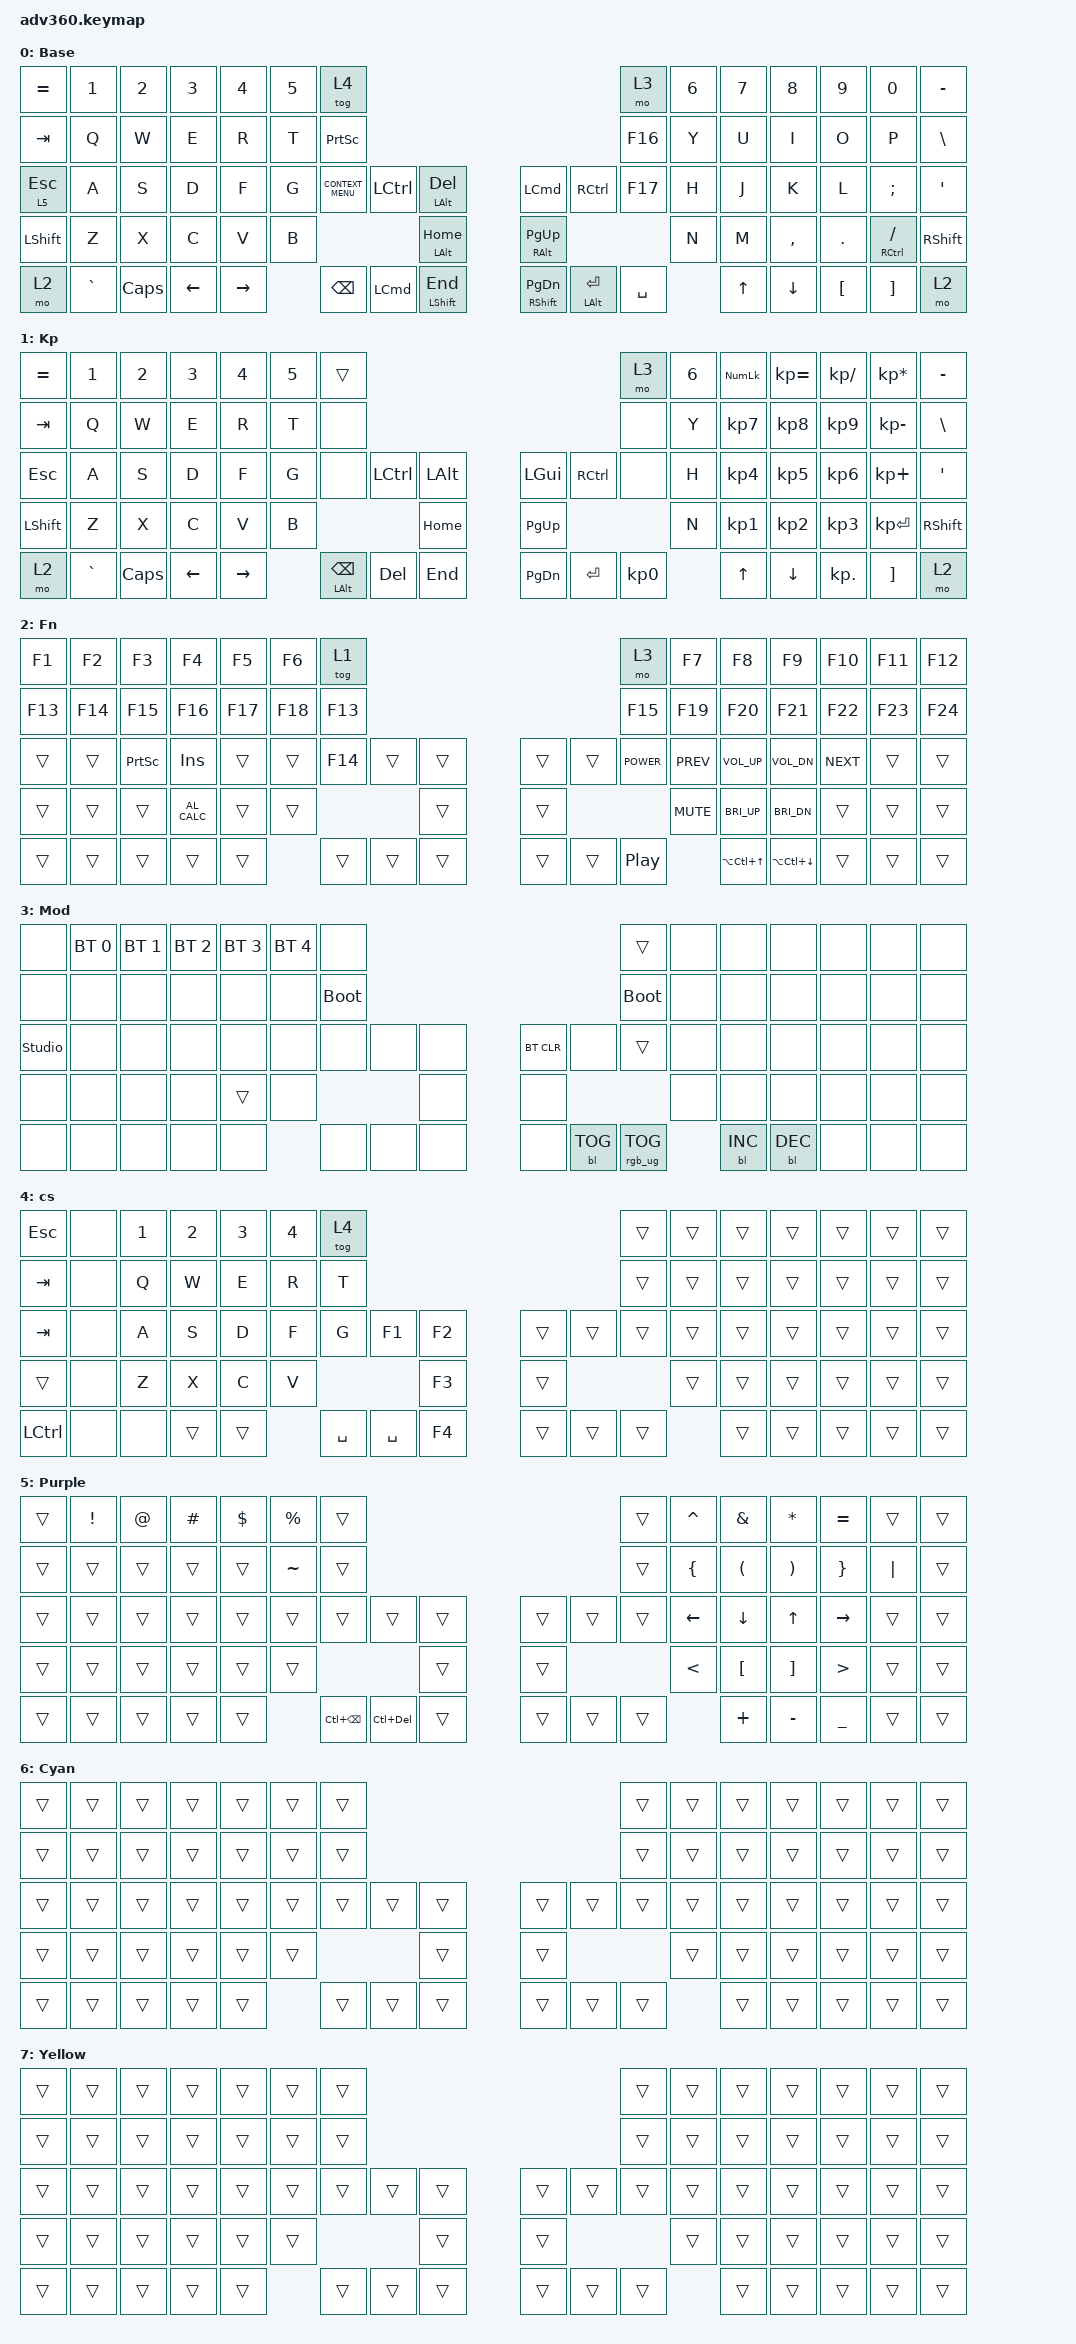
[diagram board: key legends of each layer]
#include <dt-bindings/zmk/stp.h>
#include <behaviors.dtsi>
#include <dt-bindings/zmk/backlight.h>
#include <dt-bindings/zmk/bt.h>
#include <dt-bindings/zmk/keys.h>
#include <dt-bindings/zmk/rgb.h>

/ {
    behaviors {
        #include "macros.dtsi"
      #include "version.dtsi"

        hm: homerow_mods {
            compatible = "zmk,behavior-hold-tap";
            label = "HOMEROW_MODS";
            #binding-cells = <2>;
            tapping-term-ms = <200>;
            flavor = "tap-preferred";
            bindings = <&kp>, <&kp>;

            require-prior-idle-ms = <0>;
        };
    };

    keymap {
        compatible = "zmk,keymap";

        default_layer {
            display-name = "Base";
            bindings = <
&kp EQUAL     &kp N1     &kp N2    &kp N3    &kp N4     &kp N5  &tog 4                                                                                       &mo 3      &kp N6  &kp N7  &kp N8     &kp N9    &kp N0          &kp MINUS
&kp TAB       &kp Q      &kp W     &kp E     &kp R      &kp T   &kp PRINTSCREEN                                                                              &kp F16    &kp Y   &kp U   &kp I      &kp O     &kp P           &kp BSLH
&lt 5 ESCAPE  &kp A      &kp S     &kp D     &kp F      &kp G   &kp K_CONTEXT_MENU  &kp LCTRL  &hm LALT DELETE        &kp LEFT_COMMAND       &kp RCTRL       &kp F17    &kp H   &kp J   &kp K      &kp L     &kp SEMI        &kp SQT
&kp LSHFT     &kp Z      &kp X     &kp C     &kp V      &kp B                                  &hm LEFT_ALT HOME      &hm RIGHT_ALT PAGE_UP                             &kp N   &kp M   &kp COMMA  &kp DOT   &hm RCTRL FSLH  &kp RSHFT
&mo 2         &kp GRAVE  &kp CAPS  &kp LEFT  &kp RIGHT          &kp BACKSPACE       &kp LCMD   &hm LSHFT END          &hm RSHIFT PAGE_DOWN   &hm LALT ENTER  &kp SPACE          &kp UP  &kp DOWN   &kp LBKT  &kp RBKT        &mo 2
            >;
        };

        keypad {
            display-name = "Kp";
            bindings = <
&kp EQUAL  &kp N1     &kp N2    &kp N3    &kp N4     &kp N5  &trans                                                                 &mo 3      &kp N6  &kp KP_NUM  &kp KP_EQUAL  &kp KP_DIVIDE  &kp KP_MULTIPLY  &kp MINUS
&kp TAB    &kp Q      &kp W     &kp E     &kp R      &kp T   &none                                                                  &none      &kp Y   &kp KP_N7   &kp KP_N8     &kp KP_N9      &kp KP_MINUS     &kp BSLH
&kp ESC    &kp A      &kp S     &kp D     &kp F      &kp G   &none                   &kp LCTRL  &kp LALT      &kp LGUI   &kp RCTRL  &none      &kp H   &kp KP_N4   &kp KP_N5     &kp KP_N6      &kp KP_PLUS      &kp SQT
&kp LSHFT  &kp Z      &kp X     &kp C     &kp V      &kp B                                      &kp HOME      &kp PG_UP                        &kp N   &kp KP_N1   &kp KP_N2     &kp KP_N3      &kp KP_ENTER     &kp RSHFT
&mo 2      &kp GRAVE  &kp CAPS  &kp LEFT  &kp RIGHT          &hm LEFT_ALT BACKSPACE  &kp DEL    &kp END       &kp PG_DN  &kp ENTER  &kp KP_N0          &kp UP      &kp DOWN      &kp KP_DOT     &kp RBKT         &mo 2
            >;
        };

        fn {
            display-name = "Fn";
            bindings = <
&kp F1   &kp F2   &kp F3     &kp F4         &kp F5   &kp F6   &tog 1                                       &mo 3        &kp F7      &kp F8          &kp F9            &kp F10     &kp F11  &kp F12
&kp F13  &kp F14  &kp F15    &kp F16        &kp F17  &kp F18  &kp F13                                      &kp F15      &kp F19     &kp F20         &kp F21           &kp F22     &kp F23  &kp F24
&trans   &trans   &kp PSCRN  &kp INSERT     &trans   &trans   &kp F14  &trans  &trans      &trans  &trans  &kp C_POWER  &kp C_PREV  &kp C_VOL_UP    &kp C_VOL_DN      &kp C_NEXT  &trans   &trans
&trans   &trans   &trans     &kp C_AL_CALC  &trans   &trans                    &trans      &trans                       &kp C_MUTE  &kp C_BRI_UP    &kp C_BRI_DN      &trans      &trans   &trans
&trans   &trans   &trans     &trans         &trans            &trans   &trans  &trans      &trans  &trans  &kp C_PP                 &kp LA(LC(UP))  &kp LA(LC(DOWN))  &trans      &trans   &trans
            >;
        };

        mod {
            display-name = "Mod";
            bindings = <
&none           &bt BT_SEL 0  &bt BT_SEL 1  &bt BT_SEL 2  &bt BT_SEL 3  &bt BT_SEL 4  &none                                                  &trans           &none  &none       &none       &none  &none  &none
&none           &none         &none         &none         &none         &none         &bootloader                                            &bootloader      &none  &none       &none       &none  &none  &none
&studio_unlock  &none         &none         &none         &none         &none         &none        &none  &none      &bt BT_CLR  &none       &trans           &none  &none       &none       &none  &none  &none
&none           &none         &none         &none         &trans        &none                             &none      &none                                    &none  &none       &none       &none  &none  &none
&none           &none         &none         &none         &none                       &none        &none  &none      &none       &bl BL_TOG  &rgb_ug RGB_TOG         &bl BL_INC  &bl BL_DEC  &none  &none  &none
            >;
        };

        Cs-layer {
            display-name = "cs";
            bindings = <
&kp ESCAPE  &none  &kp NUMBER_1  &kp NUMBER_2  &kp NUMBER_3  &kp NUMBER_4  &tog 4                                            &trans  &trans  &trans  &trans  &trans  &trans  &trans
&kp TAB     &none  &kp Q         &kp W         &kp E         &kp R         &kp T                                             &trans  &trans  &trans  &trans  &trans  &trans  &trans
&kp TAB     &none  &kp A         &kp S         &kp D         &kp F         &kp G      &kp F1     &kp F2      &trans  &trans  &trans  &trans  &trans  &trans  &trans  &trans  &trans
&trans      &none  &kp Z         &kp X         &kp C         &kp V                               &kp F3      &trans                  &trans  &trans  &trans  &trans  &trans  &trans
&kp LCTRL   &none  &none         &trans        &trans                      &kp SPACE  &kp SPACE  &kp F4      &trans  &trans  &trans          &trans  &trans  &trans  &trans  &trans
            >;
        };

        symbol+nav-layer {
            display-name = "Purple";
            bindings = <
&trans  &kp EXCL  &kp AT  &kp POUND  &kp DOLLAR  &kp PERCENT  &trans                                                      &trans  &kp CARET       &kp AMPERSAND         &kp ASTERISK           &kp EQUAL         &trans    &trans
&trans  &trans    &trans  &trans     &trans      &kp TILDE    &trans                                                      &trans  &kp LEFT_BRACE  &kp LEFT_PARENTHESIS  &kp RIGHT_PARENTHESIS  &kp RIGHT_BRACE   &kp PIPE  &trans
&trans  &trans    &trans  &trans     &trans      &trans       &trans             &trans       &trans      &trans  &trans  &trans  &kp LEFT        &kp DOWN              &kp UP                 &kp RIGHT         &trans    &trans
&trans  &trans    &trans  &trans     &trans      &trans                                       &trans      &trans                  &kp LESS_THAN   &kp LEFT_BRACKET      &kp RIGHT_BRACKET      &kp GREATER_THAN  &trans    &trans
&trans  &trans    &trans  &trans     &trans                   &kp LC(BACKSPACE)  &kp LC(DEL)  &trans      &trans  &trans  &trans                  &kp PLUS              &kp MINUS              &kp UNDERSCORE    &trans    &trans
            >;
        };

        extra3 {
            display-name = "Cyan";
            bindings = <
&trans  &trans  &trans  &trans  &trans  &trans  &trans                                      &trans  &trans  &trans  &trans  &trans  &trans  &trans
&trans  &trans  &trans  &trans  &trans  &trans  &trans                                      &trans  &trans  &trans  &trans  &trans  &trans  &trans
&trans  &trans  &trans  &trans  &trans  &trans  &trans  &trans  &trans      &trans  &trans  &trans  &trans  &trans  &trans  &trans  &trans  &trans
&trans  &trans  &trans  &trans  &trans  &trans                  &trans      &trans                  &trans  &trans  &trans  &trans  &trans  &trans
&trans  &trans  &trans  &trans  &trans          &trans  &trans  &trans      &trans  &trans  &trans          &trans  &trans  &trans  &trans  &trans
            >;
        };

        extra4 {
            display-name = "Yellow";
            bindings = <
&trans  &trans  &trans  &trans  &trans  &trans  &trans                                      &trans  &trans  &trans  &trans  &trans  &trans  &trans
&trans  &trans  &trans  &trans  &trans  &trans  &trans                                      &trans  &trans  &trans  &trans  &trans  &trans  &trans
&trans  &trans  &trans  &trans  &trans  &trans  &trans  &trans  &trans      &trans  &trans  &trans  &trans  &trans  &trans  &trans  &trans  &trans
&trans  &trans  &trans  &trans  &trans  &trans                  &trans      &trans                  &trans  &trans  &trans  &trans  &trans  &trans
&trans  &trans  &trans  &trans  &trans          &trans  &trans  &trans      &trans  &trans  &trans          &trans  &trans  &trans  &trans  &trans
            >;
        };
    };
};
